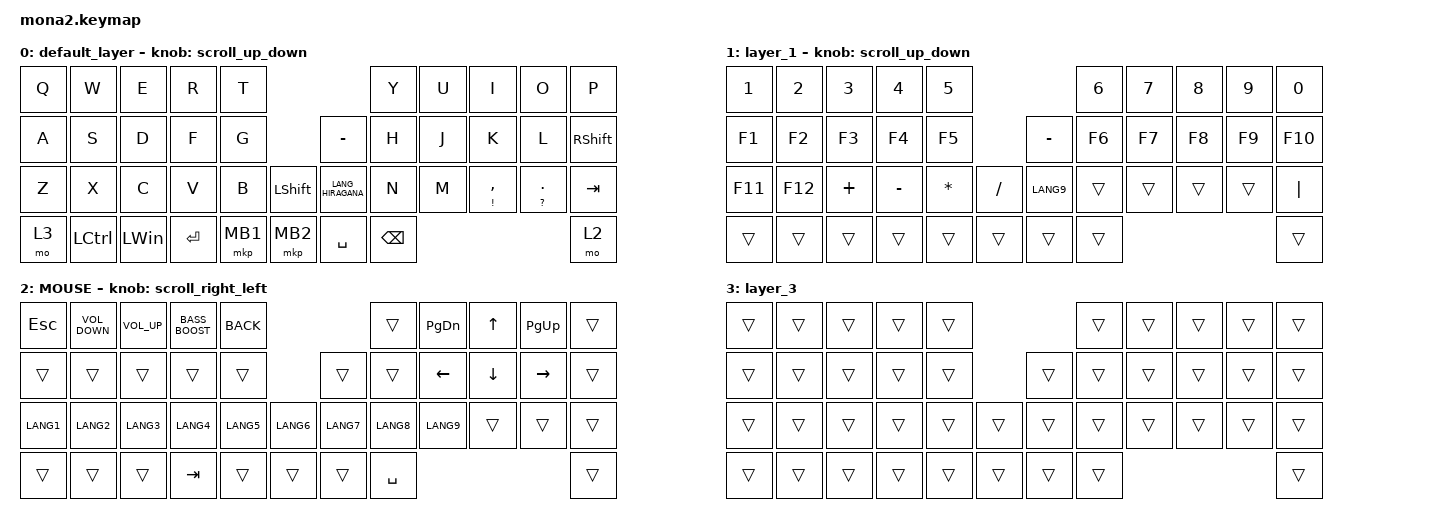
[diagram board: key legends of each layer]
#include <input/processors.dtsi>
#include <dt-bindings/zmk/input_transform.h>
#include <zephyr/dt-bindings/input/input-event-codes.h>
#include <behaviors.dtsi>
#include <dt-bindings/zmk/keys.h>
#include <dt-bindings/zmk/pointing.h>

#define ZMK_POINTING_DEFAULT_SCRL_VAL 100
#define MOUSE 5
#define SCROLL 6

&mt {
    flavor = "balanced";
    quick-tap-ms = <0>;
};

&lt {
    quick-tap-ms = <300>;
    flavor = "balanced";
};

/ {
    combos {
        compatible = "zmk,combos";

        layer4_ESC {
            bindings = <&lt 0 ESC>;
            key-positions = <39 38>;
        };

        tab {
            bindings = <&kp TAB>;
            key-positions = <11 12>;
        };
    };

    macros {
        to_layer_0: to_layer_0 {
            compatible = "zmk,behavior-macro-one-param";
            #binding-cells = <1>;
            bindings = <&to 0 &macro_param_1to1 &kp MACRO_PLACEHOLDER>;
            label = "TO_LAYER_0";
        };
    };

    behaviors {
        lt_to_layer_0: lt_to_layer_0 {
            compatible = "zmk,behavior-hold-tap";
            label = "LAYER_TAP_TO_0";
            bindings = <&mo>, <&to_layer_0>;

            #binding-cells = <2>;
            tapping-term-ms = <200>;
        };

        scroll_up_down: mouse_wheel_up_down {
            compatible = "zmk,behavior-sensor-rotate";
            #sensor-binding-cells = <0>;
            bindings = <&msc SCRL_DOWN>, <&msc SCRL_UP>;

            tap-ms = <20>;
        };

        scroll_right_left: mouse_wheel_right_left {
            compatible = "zmk,behavior-sensor-rotate";
            #sensor-binding-cells = <0>;
            bindings = <&msc SCRL_LEFT>, <&msc SCRL_RIGHT>;

            tap-ms = <20>;
        };
    };

    keymap {
        compatible = "zmk,keymap";

        default_layer {
            bindings = <
&kp Q  &kp W             &kp E         &kp R      &kp T                                          &kp Y          &kp U  &kp I                  &kp O                &kp P
&kp A  &kp S             &kp D         &kp F      &kp G                       &kp MINUS          &kp H          &kp J  &kp K                  &kp L                &kp RIGHT_SHIFT
&kp Z  &kp X             &kp C         &kp V      &kp B     &kp LEFT_SHIFT    &kp LANG_HIRAGANA  &kp N          &kp M  &mt EXCLAMATION COMMA  &mt QUESTION PERIOD  &kp TAB
&mo 3  &kp LEFT_CONTROL  &kp LEFT_WIN  &kp ENTER  &mkp MB1  &mkp MB2          &kp SPACE          &kp BACKSPACE                                                     &mo 2
            >;

            sensor-bindings = <&scroll_up_down>;
        };

        layer_1 {
            bindings = <
&kp NUMBER_1  &kp NUMBER_2  &kp NUMBER_3  &kp NUMBER_4  &kp NUMBER_5                          &kp NUMBER_6  &kp NUMBER_7  &kp NUMBER_8  &kp NUMBER_9  &kp NUMBER_0
&kp F1        &kp F2        &kp F3        &kp F4        &kp F5                     &kp MINUS  &kp F6        &kp F7        &kp F8        &kp F9        &kp F10
&kp F11       &kp F12       &kp PLUS      &kp MINUS     &kp ASTERISK  &kp SLASH    &kp LANG9  &trans        &trans        &trans        &trans        &kp PIPE
&trans        &trans        &trans        &trans        &trans        &trans       &trans     &trans                                                  &trans
            >;

            sensor-bindings = <&scroll_up_down>;
        };

        MOUSE {
            bindings = <
&kp ESCAPE  &kp C_VOLUME_DOWN  &kp C_VOLUME_UP  &kp C_BASS_BOOST  &kp K_BACK                          &trans     &kp PAGE_DOWN   &kp UP_ARROW    &kp PAGE_UP      &trans
&trans      &trans             &trans           &trans            &trans                   &trans     &trans     &kp LEFT_ARROW  &kp DOWN_ARROW  &kp RIGHT_ARROW  &trans
&kp LANG1   &kp LANG2          &kp LANG3        &kp LANG4         &kp LANG5   &kp LANG6    &kp LANG7  &kp LANG8  &kp LANG9       &trans          &trans           &trans
&trans      &trans             &trans           &kp TAB           &trans      &trans       &trans     &kp SPACE                                                   &trans
            >;

            sensor-bindings = <&scroll_right_left>;
        };

        layer_3 {
            bindings = <
&trans  &trans  &trans  &trans  &trans                    &trans  &trans  &trans  &trans  &trans
&trans  &trans  &trans  &trans  &trans            &trans  &trans  &trans  &trans  &trans  &trans
&trans  &trans  &trans  &trans  &trans  &trans    &trans  &trans  &trans  &trans  &trans  &trans
&trans  &trans  &trans  &trans  &trans  &trans    &trans  &trans                          &trans
            >;
        };
    };
};
